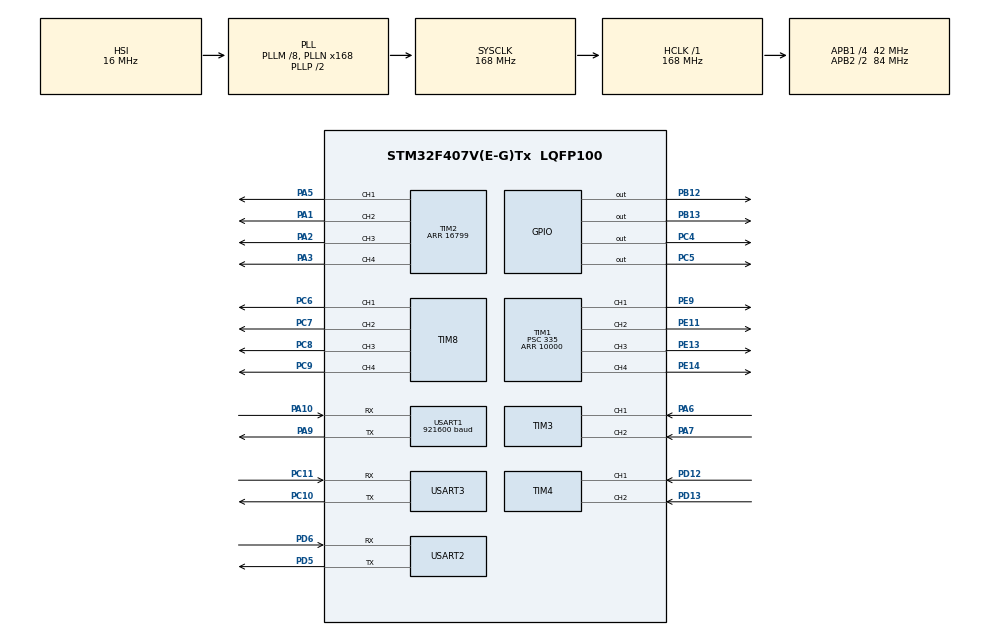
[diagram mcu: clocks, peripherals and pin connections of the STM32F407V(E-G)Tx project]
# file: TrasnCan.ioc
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Dma.Request0=USART1_TX
Dma.Request1=USART1_RX
Dma.Request2=USART2_RX
Dma.Request3=USART2_TX
Dma.USART1_RX.1.Direction=DMA_PERIPH_TO_MEMORY
Dma.USART1_RX.1.FIFOMode=DMA_FIFOMODE_DISABLE
Dma.USART1_RX.1.Instance=DMA2_Stream2
Dma.USART1_RX.1.MemDataAlignment=DMA_MDATAALIGN_BYTE
Dma.USART1_RX.1.MemInc=DMA_MINC_ENABLE
Dma.USART1_RX.1.Mode=DMA_NORMAL
Dma.USART1_RX.1.PeriphDataAlignment=DMA_PDATAALIGN_BYTE
Dma.USART1_RX.1.PeriphInc=DMA_PINC_DISABLE
Dma.USART1_RX.1.Priority=DMA_PRIORITY_LOW
Dma.USART1_TX.0.Direction=DMA_MEMORY_TO_PERIPH
Dma.USART1_TX.0.FIFOMode=DMA_FIFOMODE_DISABLE
Dma.USART1_TX.0.Instance=DMA2_Stream7
Dma.USART1_TX.0.MemDataAlignment=DMA_MDATAALIGN_BYTE
Dma.USART1_TX.0.MemInc=DMA_MINC_ENABLE
Dma.USART1_TX.0.Mode=DMA_NORMAL
Dma.USART1_TX.0.PeriphDataAlignment=DMA_PDATAALIGN_BYTE
Dma.USART1_TX.0.PeriphInc=DMA_PINC_DISABLE
Dma.USART1_TX.0.Priority=DMA_PRIORITY_LOW
Dma.USART2_RX.2.Direction=DMA_PERIPH_TO_MEMORY
Dma.USART2_RX.2.FIFOMode=DMA_FIFOMODE_DISABLE
Dma.USART2_RX.2.Instance=DMA1_Stream5
Dma.USART2_RX.2.MemDataAlignment=DMA_MDATAALIGN_BYTE
Dma.USART2_RX.2.MemInc=DMA_MINC_ENABLE
Dma.USART2_RX.2.Mode=DMA_NORMAL
Dma.USART2_RX.2.PeriphDataAlignment=DMA_PDATAALIGN_BYTE
Dma.USART2_RX.2.PeriphInc=DMA_PINC_DISABLE
Dma.USART2_RX.2.Priority=DMA_PRIORITY_LOW
Dma.USART2_TX.3.Direction=DMA_MEMORY_TO_PERIPH
Dma.USART2_TX.3.FIFOMode=DMA_FIFOMODE_DISABLE
Dma.USART2_TX.3.Instance=DMA1_Stream6
Dma.USART2_TX.3.MemDataAlignment=DMA_MDATAALIGN_BYTE
Dma.USART2_TX.3.MemInc=DMA_MINC_ENABLE
Dma.USART2_TX.3.Mode=DMA_NORMAL
Dma.USART2_TX.3.PeriphDataAlignment=DMA_PDATAALIGN_BYTE
Dma.USART2_TX.3.PeriphInc=DMA_PINC_DISABLE
Dma.USART2_TX.3.Priority=DMA_PRIORITY_LOW
FREERTOS.HEAP_NUMBER=4
FREERTOS.Mutexes01=Gripper_State,Dynamic,NULL,Available;Host1_Rx_Mutex,Dynamic,NULL,Available;Print_Mutex,Dynamic,NULL,Available;Host2_Rx_Mutex,Dynamic,NULL,Available
FREERTOS.Tasks01=defaultTask,24,256,StartDefaultTask,Default,NULL,Dynamic,NULL,NULL;Motor_Task,8,512,Motor_Task_Function,Default,NULL,Dynamic,NULL,NULL;Gripper_Task,8,512,Gripper_Task_Function,Default,NULL,Dynamic,NULL,NULL;USART_Task,8,512,USART_Task_Function,Default,NULL,Dynamic,NULL,NULL
FREERTOS.configCHECK_FOR_STACK_OVERFLOW=2
Mcu.Family=STM32F4
Mcu.Name=STM32F407V(E-G)Tx
Mcu.Package=LQFP100
NVIC.DMA1_Stream5_IRQn=true\:5\:0\:false\:false\:true\:true\:false\:true\:true
NVIC.DMA1_Stream6_IRQn=true\:5\:0\:true\:false\:true\:true\:false\:true\:true
NVIC.DMA2_Stream2_IRQn=true\:5\:0\:false\:false\:true\:true\:false\:true\:true
NVIC.DMA2_Stream7_IRQn=true\:5\:0\:false\:false\:true\:true\:false\:true\:true
NVIC.PriorityGroup=NVIC_PRIORITYGROUP_4
NVIC.TIM6_DAC_IRQn=true\:15\:0\:true\:false\:true\:true\:true\:true\:true
NVIC.TIM7_IRQn=true\:15\:0\:false\:false\:true\:false\:false\:true\:true
NVIC.TimeBase=TIM7_IRQn
NVIC.TimeBaseIP=TIM7
NVIC.USART1_IRQn=true\:7\:0\:true\:false\:true\:true\:true\:true\:true
NVIC.USART2_IRQn=true\:7\:0\:true\:false\:true\:true\:true\:true\:true
NVIC.USART3_IRQn=true\:7\:0\:true\:false\:true\:true\:true\:true\:true
PA1.Signal=S_TIM2_CH2
PA10.Mode=Asynchronous
PA10.Signal=USART1_RX
PA13.Mode=Serial_Wire
PA13.Signal=SYS_JTMS-SWDIO
PA14.Mode=Serial_Wire
PA14.Signal=SYS_JTCK-SWCLK
PA2.Signal=S_TIM2_CH3
PA3.Signal=S_TIM2_CH4
PA5.Signal=S_TIM2_CH1_ETR
PA6.Signal=S_TIM3_CH1
PA7.Signal=S_TIM3_CH2
PA9.Mode=Asynchronous
PA9.Signal=USART1_TX
PB12.Signal=GPIO_Output
PB13.Signal=GPIO_Output
PC10.Mode=Asynchronous
PC10.Signal=USART3_TX
PC11.Mode=Asynchronous
PC11.Signal=USART3_RX
PC14-OSC32_IN.Mode=LSE-External-Oscillator
PC14-OSC32_IN.Signal=RCC_OSC32_IN
PC15-OSC32_OUT.Mode=LSE-External-Oscillator
PC15-OSC32_OUT.Signal=RCC_OSC32_OUT
PC4.Signal=GPIO_Output
PC5.Signal=GPIO_Output
PC6.Signal=S_TIM8_CH1
PC7.Signal=S_TIM8_CH2
PC8.Signal=S_TIM8_CH3
PC9.Signal=S_TIM8_CH4
PD12.Signal=S_TIM4_CH1
PD13.Signal=S_TIM4_CH2
PD5.Mode=Asynchronous
PD5.Signal=USART2_TX
PD6.Mode=Asynchronous
PD6.Signal=USART2_RX
PE11.Signal=S_TIM1_CH2
PE13.Signal=S_TIM1_CH3
PE14.Signal=S_TIM1_CH4
PE5.Signal=S_TIM9_CH1
PE6.Signal=S_TIM9_CH2
PE9.Signal=S_TIM1_CH1
PH0-OSC_IN.Mode=HSE-External-Oscillator
PH0-OSC_IN.Signal=RCC_OSC_IN
PH1-OSC_OUT.Mode=HSE-External-Oscillator
PH1-OSC_OUT.Signal=RCC_OSC_OUT
ProjectManager.HeapSize=0x200
ProjectManager.StackSize=0x400
ProjectManager.TargetToolchain=MDK-ARM V5.32
RCC.48MHZClocksFreq_Value=84000000
RCC.AHBFreq_Value=168000000
RCC.APB1CLKDivider=RCC_HCLK_DIV4
RCC.APB1Freq_Value=42000000
RCC.APB1TimFreq_Value=84000000
RCC.APB2CLKDivider=RCC_HCLK_DIV2
RCC.APB2Freq_Value=84000000
RCC.APB2TimFreq_Value=168000000
RCC.CortexFreq_Value=168000000
RCC.HCLKFreq_Value=168000000
RCC.HSE_VALUE=25000000
RCC.HSI_VALUE=16000000
RCC.PLLM=8
RCC.PLLN=168
RCC.SYSCLKFreq_VALUE=168000000
RCC.SYSCLKSource=RCC_SYSCLKSOURCE_PLLCLK
RCC.VCOOutputFreq_Value=336000000
SH.S_TIM1_CH1.0=TIM1_CH1,PWM Generation1 CH1
SH.S_TIM1_CH2.0=TIM1_CH2,PWM Generation2 CH2
SH.S_TIM1_CH3.0=TIM1_CH3,PWM Generation3 CH3
SH.S_TIM1_CH4.0=TIM1_CH4,Output Compare4 CH4
SH.S_TIM2_CH1_ETR.0=TIM2_CH1,PWM Generation1 CH1
SH.S_TIM2_CH2.0=TIM2_CH2,PWM Generation2 CH2
SH.S_TIM2_CH3.0=TIM2_CH3,PWM Generation3 CH3
SH.S_TIM2_CH4.0=TIM2_CH4,PWM Generation4 CH4
SH.S_TIM3_CH1.0=TIM3_CH1,Encoder_Interface
SH.S_TIM3_CH2.0=TIM3_CH2,Encoder_Interface
SH.S_TIM4_CH1.0=TIM4_CH1,Encoder_Interface
SH.S_TIM4_CH2.0=TIM4_CH2,Encoder_Interface
SH.S_TIM8_CH1.0=TIM8_CH1,PWM Generation1 CH1
SH.S_TIM8_CH2.0=TIM8_CH2,PWM Generation2 CH2
SH.S_TIM8_CH3.0=TIM8_CH3,PWM Generation3 CH3
SH.S_TIM8_CH4.0=TIM8_CH4,PWM Generation4 CH4
SH.S_TIM9_CH1.0=TIM9_CH1
SH.S_TIM9_CH2.0=TIM9_CH2
TIM1.Channel-Output\ Compare4\ CH4=TIM_CHANNEL_4
TIM1.Channel-PWM\ Generation1\ CH1=TIM_CHANNEL_1
TIM1.Channel-PWM\ Generation2\ CH2=TIM_CHANNEL_2
TIM1.Channel-PWM\ Generation3\ CH3=TIM_CHANNEL_3
TIM1.Period=10000
TIM1.Prescaler=335
TIM2.Channel-PWM\ Generation1\ CH1=TIM_CHANNEL_1
TIM2.Channel-PWM\ Generation2\ CH2=TIM_CHANNEL_2
TIM2.Channel-PWM\ Generation3\ CH3=TIM_CHANNEL_3
TIM2.Channel-PWM\ Generation4\ CH4=TIM_CHANNEL_4
TIM2.Period=16799
TIM6.Period=16799
TIM6.Prescaler=49
TIM8.Channel-PWM\ Generation1\ CH1=TIM_CHANNEL_1
TIM8.Channel-PWM\ Generation2\ CH2=TIM_CHANNEL_2
TIM8.Channel-PWM\ Generation3\ CH3=TIM_CHANNEL_3
TIM8.Channel-PWM\ Generation4\ CH4=TIM_CHANNEL_4
USART1.BaudRate=921600
USART1.VirtualMode=VM_ASYNC
USART2.VirtualMode=VM_ASYNC
USART3.VirtualMode=VM_ASYNC
VP_FREERTOS_VS_CMSIS_V2.Mode=CMSIS_V2
VP_SYS_VS_tim7.Mode=TIM7
VP_TIM6_VS_ClockSourceINT.Mode=Enable_Timer
board=custom

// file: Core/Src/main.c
/* USER CODE BEGIN Header */
/**
 ******************************************************************************
 * @file           : main.c
 * @brief          : Main program body
 ******************************************************************************
 * @attention
 *
 * Copyright (c) 2025 STMicroelectronics.
 * All rights reserved.
 *
 * This software is licensed under terms that can be found in the LICENSE file
 * in the root directory of this software component.
 * If no LICENSE file comes with this software, it is provided AS-IS.
 *
 ******************************************************************************
 */
/* USER CODE END Header */
#include "main.h"
#include "cmsis_os.h"
#include "dma.h"
#include "tim.h"
#include "usart.h"
#include "gpio.h"

void SystemClock_Config(void);
void MX_FREERTOS_Init(void);

int main(void)
{

  /* MCU Configuration--------------------------------------------------------*/

  /* Reset of all peripherals, Initializes the Flash interface and the Systick. */
  HAL_Init();

  /* Configure the system clock */
  SystemClock_Config();

  /* Initialize all configured peripherals */
  MX_GPIO_Init();
  MX_DMA_Init();
  MX_TIM1_Init();
  MX_TIM2_Init();
  MX_TIM6_Init();
  MX_TIM3_Init();
  MX_TIM4_Init();
  MX_TIM8_Init();
  MX_USART1_UART_Init();
  MX_USART2_UART_Init();
  MX_USART3_UART_Init();
  /* USER CODE BEGIN 2 */
  init();
  /* USER CODE END 2 */

  /* Init scheduler */
  osKernelInitialize(); /* Call init function for freertos objects (in cmsis_os2.c) */
  MX_FREERTOS_Init();

  /* Start scheduler */
  osKernelStart();

  /* We should never get here as control is now taken by the scheduler */

  /* Infinite loop */
  while (1)
  {

    /* USER CODE BEGIN 3 */
    // usart2_Transmit_test();
    // i++;
  }
  /* USER CODE END 3 */
}

void SystemClock_Config(void)
{
  RCC_OscInitTypeDef RCC_OscInitStruct = {0};
  RCC_ClkInitTypeDef RCC_ClkInitStruct = {0};

  /** Configure the main internal regulator output voltage
   */
  __HAL_RCC_PWR_CLK_ENABLE();
  __HAL_PWR_VOLTAGESCALING_CONFIG(PWR_REGULATOR_VOLTAGE_SCALE1);

  /** Initializes the RCC Oscillators according to the specified parameters
   * in the RCC_OscInitTypeDef structure.
   */
  RCC_OscInitStruct.OscillatorType = RCC_OSCILLATORTYPE_HSI;
  RCC_OscInitStruct.HSIState = RCC_HSI_ON;
  RCC_OscInitStruct.HSICalibrationValue = RCC_HSICALIBRATION_DEFAULT;
  RCC_OscInitStruct.PLL.PLLState = RCC_PLL_ON;
  RCC_OscInitStruct.PLL.PLLSource = RCC_PLLSOURCE_HSI;
  RCC_OscInitStruct.PLL.PLLM = 8;
  RCC_OscInitStruct.PLL.PLLN = 168;
  RCC_OscInitStruct.PLL.PLLP = RCC_PLLP_DIV2;
  RCC_OscInitStruct.PLL.PLLQ = 4;
  if (HAL_RCC_OscConfig(&RCC_OscInitStruct) != HAL_OK)
  {
    Error_Handler();
  }

  /** Initializes the CPU, AHB and APB buses clocks
   */
  RCC_ClkInitStruct.ClockType = RCC_CLOCKTYPE_HCLK | RCC_CLOCKTYPE_SYSCLK | RCC_CLOCKTYPE_PCLK1 | RCC_CLOCKTYPE_PCLK2;
  RCC_ClkInitStruct.SYSCLKSource = RCC_SYSCLKSOURCE_PLLCLK;
  RCC_ClkInitStruct.AHBCLKDivider = RCC_SYSCLK_DIV1;
  RCC_ClkInitStruct.APB1CLKDivider = RCC_HCLK_DIV4;
  RCC_ClkInitStruct.APB2CLKDivider = RCC_HCLK_DIV2;

  if (HAL_RCC_ClockConfig(&RCC_ClkInitStruct, FLASH_LATENCY_5) != HAL_OK)
  {
    Error_Handler();
  }
}

void HAL_TIM_PeriodElapsedCallback(TIM_HandleTypeDef *htim)
{
  if (htim->Instance == TIM7)
  {
    HAL_IncTick();
  }
}

void Error_Handler(void)
{
  __disable_irq();
  while (1)
  {
  }
}

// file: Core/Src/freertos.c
/* USER CODE BEGIN Header */
/**
 ******************************************************************************
 * File Name          : freertos.c
 * Description        : Code for freertos applications
 ******************************************************************************
 * @attention
 *
 * Copyright (c) 2025 STMicroelectronics.
 * All rights reserved.
 *
 * This software is licensed under terms that can be found in the LICENSE file
 * in the root directory of this software component.
 * If no LICENSE file comes with this software, it is provided AS-IS.
 *
 ******************************************************************************
 */
/* USER CODE END Header */

#include "FreeRTOS.h"
#include "task.h"
#include "main.h"
#include "cmsis_os.h"

/* USER CODE BEGIN PD */
#define DEBUG_GRIPPER 0
#define DEBUG_OS 0

/* USER CODE END PD */

/* USER CODE BEGIN Variables */
Gripper_State gripper_state = GRIPPER_STATE_STOP;
Allow_Sort_State allow_to_sort_state = Allow_To_Sort;
Sort_State sort_state = Is_Sorting;
/* USER CODE END Variables */
/* Definitions for defaultTask */
osThreadId_t defaultTaskHandle;
const osThreadAttr_t defaultTask_attributes = {
    .name = "defaultTask",
    .stack_size = 256 * 4,
    .priority = (osPriority_t)osPriorityNormal,
};
/* Definitions for Motor_Task */
osThreadId_t Motor_TaskHandle;
const osThreadAttr_t Motor_Task_attributes = {
    .name = "Motor_Task",
    .stack_size = 512 * 4,
    .priority = (osPriority_t)osPriorityLow,
};
/* Definitions for Gripper_Task */
osThreadId_t Gripper_TaskHandle;
const osThreadAttr_t Gripper_Task_attributes = {
    .name = "Gripper_Task",
    .stack_size = 512 * 4,
    .priority = (osPriority_t)osPriorityLow,
};
/* Definitions for USART_Task */
osThreadId_t USART_TaskHandle;
const osThreadAttr_t USART_Task_attributes = {
    .name = "USART_Task",
    .stack_size = 512 * 4,
    .priority = (osPriority_t)osPriorityLow,
};
/* Definitions for Gripper_State */
osMutexId_t Gripper_StateHandle;
const osMutexAttr_t Gripper_State_attributes = {
    .name = "Gripper_State"};
/* Definitions for Host1_Rx_Mutex */
osMutexId_t Host1_Rx_MutexHandle;
const osMutexAttr_t Host1_Rx_Mutex_attributes = {
    .name = "Host1_Rx_Mutex"};
/* Definitions for Print_Mutex */
osMutexId_t Print_MutexHandle;
const osMutexAttr_t Print_Mutex_attributes = {
    .name = "Print_Mutex"};
/* Definitions for Host2_Rx_Mutex */
osMutexId_t Host2_Rx_MutexHandle;
const osMutexAttr_t Host2_Rx_Mutex_attributes = {
    .name = "Host2_Rx_Mutex"};

void StartDefaultTask(void *argument);
void Motor_Task_Function(void *argument);
void Gripper_Task_Function(void *argument);
void USART_Task_Function(void *argument);

void MX_FREERTOS_Init(void); /* (MISRA C 2004 rule 8.1) */

/* Hook prototypes */
void vApplicationStackOverflowHook(xTaskHandle xTask, signed char *pcTaskName);

/* USER CODE BEGIN 4 */
void vApplicationStackOverflowHook(xTaskHandle xTask, signed char *pcTaskName)
{
  printf("Stack overflow in task %s\r\n", pcTaskName);
  /* Run time stack overflow checking is performed if
  configCHECK_FOR_STACK_OVERFLOW is defined to 1 or 2. This hook function is
  called if a stack overflow is detected. */
}
/* USER CODE END 4 */

void MX_FREERTOS_Init(void)
{
  /* Create the mutex(es) */
  /* creation of Gripper_State */
  Gripper_StateHandle = osMutexNew(&Gripper_State_attributes);

  /* creation of Host1_Rx_Mutex */
  Host1_Rx_MutexHandle = osMutexNew(&Host1_Rx_Mutex_attributes);

  /* creation of Print_Mutex */
  Print_MutexHandle = osMutexNew(&Print_Mutex_attributes);

  /* creation of Host2_Rx_Mutex */
  Host2_Rx_MutexHandle = osMutexNew(&Host2_Rx_Mutex_attributes);

  /* Create the thread(s) */
  /* creation of defaultTask */
  defaultTaskHandle = osThreadNew(StartDefaultTask, NULL, &defaultTask_attributes);

  /* creation of Motor_Task */
  Motor_TaskHandle = osThreadNew(Motor_Task_Function, NULL, &Motor_Task_attributes);

  /* creation of Gripper_Task */
  Gripper_TaskHandle = osThreadNew(Gripper_Task_Function, NULL, &Gripper_Task_attributes);

  /* creation of USART_Task */
  USART_TaskHandle = osThreadNew(USART_Task_Function, NULL, &USART_Task_attributes);

}

void StartDefaultTask(void *argument)
{
  for (;;)
  {
    osDelay(1);
  }
}

void Motor_Task_Function(void *argument)
{
  /* USER CODE BEGIN Motor_Task_Function */
#if DEBUG_OS == 1
  uint16_t cnt = 0;
#endif
  /* Infinite loop */
  for (;;)
  {
#if DEBUG_OS == 1
    cnt++;
    if (cnt == 10)
    {
      cnt = 0;
      osMutexAcquire(Print_MutexHandle, osWaitForever);
      printf("Motor_Task running\r\n");
      osMutexRelease(Print_MutexHandle);
    }
#endif
    MotorX.Encoder = -Read_Encoder(3) * 360.0 * 0.23799 / (13 * 30); // 0.2714,0.4375
    MotorY.Encoder = -Read_Encoder(4) * 360.0 * 0.24558 / (13 * 30); // 0.2595,0.3987
    MotorX.Position += MotorX.Encoder;
    MotorY.Position += MotorY.Encoder;

    if (MotorX.mode == MODE_RESET)
      MotorX.Motor = -8000;
    else
      Incremental_PID(&MotorX);

    if (MotorY.mode == MODE_RESET)
      MotorY.Motor = -9000;
    else
      Incremental_PID(&MotorY);

    if (MotorX.mode == MODE_STOP)
      MotorX.Motor = 0;

    if (MotorY.mode == MODE_STOP)
      MotorY.Motor = 0;

    Set_Pwm(&MotorX, &MotorY);
    osDelay(1);
  }
  /* USER CODE END Motor_Task_Function */
}

/* USER CODE BEGIN Header_Gripper_Task_Function */
/**
 * @brief Function implementing the Gripper_Task thread.
 * just test now
 * @param argument: Not used
 * @retval None
 */
/* USER CODE END Header_Gripper_Task_Function */
void Gripper_Task_Function(void *argument)
{
  /* USER CODE BEGIN Gripper_Task_Function */
  /* Infinite loop */
  for (;;)
  {
#if DEBUG_OS == 1
    osMutexAcquire(Print_MutexHandle, osWaitForever);
    printf("Gripper_Task running\r\n");
    osMutexRelease(Print_MutexHandle);
#endif
    if (osMutexAcquire(Gripper_StateHandle, 0) == osOK)
    {

      switch (gripper_state)
      {
      case GRIPPER_STATE_MOVE_TO_GRAB:
      {
#if DEBUG_GRIPPER
        osMutexAcquire(Print_MutexHandle, osWaitForever);
        printf("GRIPPER_STATE_MOVE_TO_GRAB running\r\n");
        osMutexRelease(Print_MutexHandle);
#endif
        MotorX.mode = MODE_POSITION_SINGLE;
        MotorY.mode = MODE_POSITION_SINGLE;

        MotorX.Target_P = Target_X;
        MotorY.Target_P = Target_Y;

        //         osDelay(3000);
        //         gripper_state = GRIPPER_STATE_CLAMP;
        if (my_abs(MotorX.pos_error) < 10 && my_abs(MotorY.pos_error) < 10)
        {
          osDelay(4000);
          gripper_state = GRIPPER_STATE_CLAMP;
        }
        break;
      }
      case GRIPPER_STATE_CLAMP:
      {
#if DEBUG_GRIPPER
        osMutexAcquire(Print_MutexHandle, osWaitForever);
        printf("GRIPPER_STATE_CLAMP running\r\n");
        osMutexRelease(Print_MutexHandle);
#endif
        MotorX.mode = MODE_STOP;
        MotorY.mode = MODE_STOP;
        int skip_servo = 0;
        if ((MotorX.Target_P < 310 && MotorY.Target_P < 228) ||
            (MotorX.Target_P < 321 && MotorY.Target_P > 322) ||
            (MotorX.Target_P > 420 && MotorY.Target_P < 207) ||
            (MotorX.Target_P > 420 && MotorY.Target_P > 308))
        {
          skip_servo = 1;
        }

        if (!skip_servo)
        {
          Servo3(0);
          Servo1(70);
          Servo2(170);
          osDelay(500);

          Servo3(Target_angle);
          osDelay(500);

          Servo1(70);
          Servo2(135);
          osDelay(500);

          Servo1_SmoothMove(70, 0, 10, 100);
          osDelay(1000);
          Servo2(170);
          osDelay(500);
        }
        gripper_state = GRIPPER_STATE_MOVE_TO_RELEASE;
        break;
      }

      case GRIPPER_STATE_MOVE_TO_RELEASE:
      {
#if DEBUG_GRIPPER
        osMutexAcquire(Print_MutexHandle, osWaitForever);
        printf("GRIPPER_STATE_MOVE_TO_RELEASE running\r\n");
        osMutexRelease(Print_MutexHandle);
#endif
        MotorX.mode = MODE_POSITION_SINGLE;
        MotorY.mode = MODE_POSITION_SINGLE;
        //        MotorX.Target_P = 125;
        //        MotorY.Target_P = 410;
        switch (Target_box)
        {
        case Hazardous:
          MotorX.Target_P = 230;
          MotorY.Target_P = 130;
          break;
        case Kitchen:
          MotorX.Target_P = 495;
          MotorY.Target_P = 130;
          break;
        case Recyclable:
          MotorX.Target_P = 495;
          MotorY.Target_P = 420;
          break;
        case Other:
          MotorX.Target_P = 230;
          MotorY.Target_P = 420;
          break;
        default:
          MotorX.Target_P = 230;
          MotorY.Target_P = 130;
        }

        //         osDelay(2000);
        //         gripper_state = GRIPPER_STATE_RELEASE;
        if (my_abs(MotorX.pos_error) < 10 && my_abs(MotorY.pos_error) < 10)
        {
          osDelay(3000);
          gripper_state = GRIPPER_STATE_RELEASE;
        }
        break;
      }
      case GRIPPER_STATE_RELEASE:
      {
#if DEBUG_GRIPPER
        osMutexAcquire(Print_MutexHandle, osWaitForever);
        printf("GRIPPER_STATE_RELEASE running\r\n");
        osMutexRelease(Print_MutexHandle);
#endif

        Servo1(0);
        Servo2(170);
        osDelay(500);
        Servo3(0);
        Servo1(70);
        Servo2(170);
        osDelay(500);
        gripper_state = GRIPPER_STATE_RESET;
        break;
      }
      case GRIPPER_STATE_RESET:
      {
#if DEBUG_GRIPPER
        osMutexAcquire(Print_MutexHandle, osWaitForever);
        printf("GRIPPER_STATE_RESET running\r\n");
        osMutexRelease(Print_MutexHandle);
#endif

        MotorX.Target_P = 218;
        MotorY.Target_P = 120;
        osDelay(3500);
        MotorX.mode = MODE_RESET;
        MotorY.mode = MODE_RESET;
        osDelay(2000);

        MotorX.Position = 218;
        MotorY.Position = 120;

        MotorX.mode = MODE_STOP;
        MotorY.mode = MODE_STOP;
        gripper_state = GRIPPER_STATE_STOP;
        break;
      }
      case GRIPPER_STATE_STOP:
      {
#if DEBUG_GRIPPER
        osMutexAcquire(Print_MutexHandle, osWaitForever);
        printf("GRIPPER_STATE_STOP\r\n");
        osMutexRelease(Print_MutexHandle);
#endif
        (void)0;
        osDelay(500);
      }
      default:
        break;
      }
      osMutexRelease(Gripper_StateHandle);
    }
    osDelay(1);
  }
  /* USER CODE END Gripper_Task_Function */
}

void USART_Task_Function(void *argument)
{
  /* USER CODE BEGIN USART_Task_Function */
  /* Infinite loop */
  for (;;)
  {
#if DEBUG_OS == 1
    osMutexAcquire(Print_MutexHandle, osWaitForever);
    printf("USART_Task running\r\n");
    osMutexRelease(Print_MutexHandle);
#endif
    // Usart1Task_Run();
    // Usart2Task_Run();
    osDelay(1);
  }
  /* USER CODE END USART_Task_Function */
}
